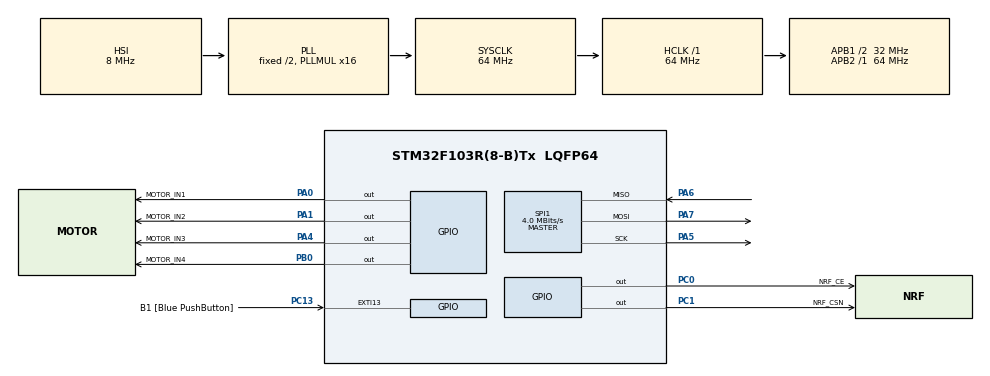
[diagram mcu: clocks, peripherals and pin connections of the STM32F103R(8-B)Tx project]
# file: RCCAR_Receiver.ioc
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Mcu.Family=STM32F1
Mcu.Name=STM32F103R(8-B)Tx
Mcu.Package=LQFP64
NVIC.EXTI15_10_IRQn=true\:0\:0\:false\:false\:true\:true\:true\:true
NVIC.PriorityGroup=NVIC_PRIORITYGROUP_4
PA0-WKUP.GPIO_Label=MOTOR_IN1
PA0-WKUP.Signal=GPIO_Output
PA1.GPIO_Label=MOTOR_IN2
PA1.Signal=GPIO_Output
PA13.GPIO_Label=TMS
PA13.Mode=Serial_Wire
PA13.Signal=SYS_JTMS-SWDIO
PA14.GPIO_Label=TCK
PA14.Mode=Serial_Wire
PA14.Signal=SYS_JTCK-SWCLK
PA2.GPIO_Label=USART_TX
PA2.GPIO_Mode=GPIO_MODE_AF_PP
PA2.GPIO_PuPd=GPIO_NOPULL
PA2.GPIO_Speed=GPIO_SPEED_FREQ_LOW
PA2.Signal=USART2_TX
PA3.GPIO_Label=USART_RX
PA3.GPIO_Mode=GPIO_MODE_AF_PP
PA3.GPIO_PuPd=GPIO_NOPULL
PA3.GPIO_Speed=GPIO_SPEED_FREQ_LOW
PA3.Signal=USART2_RX
PA4.GPIO_Label=MOTOR_IN3
PA4.Signal=GPIO_Output
PA5.Mode=Full_Duplex_Master
PA5.Signal=SPI1_SCK
PA6.Mode=Full_Duplex_Master
PA6.Signal=SPI1_MISO
PA7.Mode=Full_Duplex_Master
PA7.Signal=SPI1_MOSI
PB0.GPIO_Label=MOTOR_IN4
PB0.Signal=GPIO_Output
PB3.GPIO_Label=SWO
PB3.Signal=SYS_JTDO-TRACESWO
PC0.GPIO_Label=NRF_CE
PC0.Signal=GPIO_Output
PC1.GPIO_Label=NRF_CSN
PC1.PinState=GPIO_PIN_SET
PC1.Signal=GPIO_Output
PC13-TAMPER-RTC.GPIO_Label=B1 [Blue PushButton]
PC13-TAMPER-RTC.GPIO_ModeDefaultEXTI=GPIO_MODE_IT_FALLING
PC13-TAMPER-RTC.GPIO_PuPd=GPIO_NOPULL
PC13-TAMPER-RTC.Signal=GPXTI13
PC14-OSC32_IN.Signal=RCC_OSC32_IN
PC15-OSC32_OUT.Signal=RCC_OSC32_OUT
PD0-OSC_IN.Signal=RCC_OSC_IN
PD1-OSC_OUT.Signal=RCC_OSC_OUT
ProjectManager.HeapSize=0x200
ProjectManager.StackSize=0x400
ProjectManager.TargetToolchain=STM32CubeIDE
RCC.AHBFreq_Value=64000000
RCC.APB1CLKDivider=RCC_HCLK_DIV2
RCC.APB1Freq_Value=32000000
RCC.APB1TimFreq_Value=64000000
RCC.APB2Freq_Value=64000000
RCC.APB2TimFreq_Value=64000000
RCC.HCLKFreq_Value=64000000
RCC.PLLMUL=RCC_PLL_MUL16
RCC.SYSCLKFreq_VALUE=64000000
RCC.SYSCLKSource=RCC_SYSCLKSOURCE_PLLCLK
RCC.USBFreq_Value=64000000
SPI1.BaudRatePrescaler=SPI_BAUDRATEPRESCALER_16
SPI1.CalculateBaudRate=4.0 MBits/s
SPI1.Direction=SPI_DIRECTION_2LINES
SPI1.Mode=SPI_MODE_MASTER
SPI1.VirtualType=VM_MASTER
board=NUCLEO-F103RB

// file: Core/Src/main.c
/* USER CODE BEGIN Header */
/**
  ******************************************************************************
  * @file           : main.c
  * @brief          : Main program body
  ******************************************************************************
  * @attention
  *
  * Copyright (c) 2026 STMicroelectronics.
  * All rights reserved.
  *
  * This software is licensed under terms that can be found in the LICENSE file
  * in the root directory of this software component.
  * If no LICENSE file comes with this software, it is provided AS-IS.
  *
  ******************************************************************************
  */
/* USER CODE END Header */
#include "main.h"

/* USER CODE BEGIN PD */
#define NRF_CMD_R_REGISTER       0x00
#define NRF_CMD_W_REGISTER       0x20
#define NRF_CMD_R_RX_PAYLOAD     0x61
#define NRF_CMD_FLUSH_RX         0xE2

#define NRF_REG_CONFIG           0x00
#define NRF_REG_EN_AA            0x01
#define NRF_REG_EN_RXADDR        0x02
#define NRF_REG_SETUP_AW         0x03
#define NRF_REG_RF_CH            0x05
#define NRF_REG_RF_SETUP         0x06
#define NRF_REG_STATUS           0x07
#define NRF_REG_RX_ADDR_P0       0x0A
#define NRF_REG_RX_PW_P0         0x11

#define NRF_STATUS_RX_DR         0x40

#define CMD_STOP                 0
#define CMD_FORWARD              1
#define CMD_REVERSE              2
#define CMD_LEFT                 3
#define CMD_RIGHT                4

#define RX_FAILSAFE_TIMEOUT_MS   250

/* USER CODE END PD */

SPI_HandleTypeDef hspi1;

void SystemClock_Config(void);
static void MX_GPIO_Init(void);
static void MX_SPI1_Init(void);

/* USER CODE BEGIN 0 */
static void Motor_Set(uint8_t in1, uint8_t in2, uint8_t in3, uint8_t in4)
{
  HAL_GPIO_WritePin(GPIOA, GPIO_PIN_0, in1 ? GPIO_PIN_SET : GPIO_PIN_RESET); // IN1
  HAL_GPIO_WritePin(GPIOA, GPIO_PIN_1, in2 ? GPIO_PIN_SET : GPIO_PIN_RESET); // IN2
  HAL_GPIO_WritePin(GPIOA, GPIO_PIN_4, in3 ? GPIO_PIN_SET : GPIO_PIN_RESET); // IN3
  HAL_GPIO_WritePin(GPIOB, GPIO_PIN_0, in4 ? GPIO_PIN_SET : GPIO_PIN_RESET); // IN4
}

static uint8_t NRF24_SPI_Transfer(uint8_t value)
{
  uint8_t rx = 0;
  HAL_SPI_TransmitReceive(&hspi1, &value, &rx, 1, HAL_MAX_DELAY);
  return rx;
}

static void NRF24_CSN(uint8_t state)
{
  HAL_GPIO_WritePin(NRF_CSN_GPIO_Port, NRF_CSN_Pin, state ? GPIO_PIN_SET : GPIO_PIN_RESET);
}

static void NRF24_CE(uint8_t state)
{
  HAL_GPIO_WritePin(NRF_CE_GPIO_Port, NRF_CE_Pin, state ? GPIO_PIN_SET : GPIO_PIN_RESET);
}

static uint8_t NRF24_ReadReg(uint8_t reg)
{
  uint8_t value;
  NRF24_CSN(0);
  NRF24_SPI_Transfer(NRF_CMD_R_REGISTER | (reg & 0x1F));
  value = NRF24_SPI_Transfer(0xFF);
  NRF24_CSN(1);
  return value;
}

static void NRF24_WriteReg(uint8_t reg, uint8_t value)
{
  NRF24_CSN(0);
  NRF24_SPI_Transfer(NRF_CMD_W_REGISTER | (reg & 0x1F));
  NRF24_SPI_Transfer(value);
  NRF24_CSN(1);
}

static void NRF24_WriteBuf(uint8_t reg, const uint8_t *data, uint8_t len)
{
  uint8_t i;
  NRF24_CSN(0);
  NRF24_SPI_Transfer(NRF_CMD_W_REGISTER | (reg & 0x1F));
  for (i = 0; i < len; i++) {
    NRF24_SPI_Transfer(data[i]);
  }
  NRF24_CSN(1);
}

static void NRF24_ReadPayload(uint8_t *data, uint8_t len)
{
  uint8_t i;
  NRF24_CSN(0);
  NRF24_SPI_Transfer(NRF_CMD_R_RX_PAYLOAD);
  for (i = 0; i < len; i++) {
    data[i] = NRF24_SPI_Transfer(0xFF);
  }
  NRF24_CSN(1);
}

static void NRF24_InitRx(void)
{
  const uint8_t addr[5] = {'c', 'a', 'r', '0', '1'};

  NRF24_CE(0);
  HAL_Delay(5);

  NRF24_WriteReg(NRF_REG_EN_AA, 0x01);
  NRF24_WriteReg(NRF_REG_EN_RXADDR, 0x01);
  NRF24_WriteReg(NRF_REG_SETUP_AW, 0x03);     // 5-byte address
  NRF24_WriteReg(NRF_REG_RF_CH, 76);          // 2.476 GHz
  NRF24_WriteReg(NRF_REG_RF_SETUP, 0x06);     // 1 Mbps, 0 dBm
  NRF24_WriteBuf(NRF_REG_RX_ADDR_P0, addr, 5);
  NRF24_WriteReg(NRF_REG_RX_PW_P0, 1);        // 1-byte payload
  NRF24_WriteReg(NRF_REG_STATUS, 0x70);       // clear pending IRQ flags
  NRF24_WriteReg(NRF_REG_CONFIG, 0x0F);       // PWR_UP=1, PRIM_RX=1, CRC on

  NRF24_CSN(0);
  NRF24_SPI_Transfer(NRF_CMD_FLUSH_RX);
  NRF24_CSN(1);

  HAL_Delay(2);
  NRF24_CE(1);
}

static uint8_t NRF24_TryReadByte(uint8_t *byte)
{
  uint8_t status = NRF24_ReadReg(NRF_REG_STATUS);
  if ((status & NRF_STATUS_RX_DR) == 0) {
    return 0;
  }

  NRF24_ReadPayload(byte, 1);
  NRF24_WriteReg(NRF_REG_STATUS, NRF_STATUS_RX_DR);
  return 1;
}

/* USER CODE END 0 */

int main(void)
{

  /* MCU Configuration--------------------------------------------------------*/

  /* Reset of all peripherals, Initializes the Flash interface and the Systick. */
  HAL_Init();

  /* Configure the system clock */
  SystemClock_Config();

  /* Initialize all configured peripherals */
  MX_GPIO_Init();
  MX_SPI1_Init();
  /* USER CODE BEGIN 2 */
  uint8_t rxByte = 0;
  uint32_t lastRxTick = HAL_GetTick();
  NRF24_InitRx();

  /* USER CODE END 2 */

  /* Infinite loop */
  /* USER CODE BEGIN WHILE */
  while (1)
  {
    if (NRF24_TryReadByte(&rxByte)) {
      lastRxTick = HAL_GetTick();
      switch (rxByte) {
        case CMD_FORWARD:
          Motor_Set(0, 1, 0, 1); // left motor forward, right motor forward
          break;
        case CMD_REVERSE:
          Motor_Set(1, 0, 1, 0); // left motor reverse, right motor reverse
          break;
        case CMD_LEFT:
          Motor_Set(0, 1, 1, 0); // left motor forward, right motor reverse
          break;
        case CMD_RIGHT:
          Motor_Set(1, 0, 0, 1); // left motor reverse, right motor forward
          break;
        case CMD_STOP:
        default:
          Motor_Set(0, 0, 0, 0); // stop both motors
          break;
      }
    } else if ((HAL_GetTick() - lastRxTick) > RX_FAILSAFE_TIMEOUT_MS) {
      Motor_Set(0, 0, 0, 0);
    }

    HAL_Delay(10);
    /* USER CODE END WHILE */

  }
}

void SystemClock_Config(void)
{
  RCC_OscInitTypeDef RCC_OscInitStruct = {0};
  RCC_ClkInitTypeDef RCC_ClkInitStruct = {0};

  /** Initializes the RCC Oscillators according to the specified parameters
  * in the RCC_OscInitTypeDef structure.
  */
  RCC_OscInitStruct.OscillatorType = RCC_OSCILLATORTYPE_HSI;
  RCC_OscInitStruct.HSIState = RCC_HSI_ON;
  RCC_OscInitStruct.HSICalibrationValue = RCC_HSICALIBRATION_DEFAULT;
  RCC_OscInitStruct.PLL.PLLState = RCC_PLL_ON;
  RCC_OscInitStruct.PLL.PLLSource = RCC_PLLSOURCE_HSI_DIV2;
  RCC_OscInitStruct.PLL.PLLMUL = RCC_PLL_MUL16;
  if (HAL_RCC_OscConfig(&RCC_OscInitStruct) != HAL_OK)
  {
    Error_Handler();
  }

  /** Initializes the CPU, AHB and APB buses clocks
  */
  RCC_ClkInitStruct.ClockType = RCC_CLOCKTYPE_HCLK|RCC_CLOCKTYPE_SYSCLK
                              |RCC_CLOCKTYPE_PCLK1|RCC_CLOCKTYPE_PCLK2;
  RCC_ClkInitStruct.SYSCLKSource = RCC_SYSCLKSOURCE_PLLCLK;
  RCC_ClkInitStruct.AHBCLKDivider = RCC_SYSCLK_DIV1;
  RCC_ClkInitStruct.APB1CLKDivider = RCC_HCLK_DIV2;
  RCC_ClkInitStruct.APB2CLKDivider = RCC_HCLK_DIV1;

  if (HAL_RCC_ClockConfig(&RCC_ClkInitStruct, FLASH_LATENCY_2) != HAL_OK)
  {
    Error_Handler();
  }
}

static void MX_SPI1_Init(void)
{

  /* SPI1 parameter configuration*/
  hspi1.Instance = SPI1;
  hspi1.Init.Mode = SPI_MODE_MASTER;
  hspi1.Init.Direction = SPI_DIRECTION_2LINES;
  hspi1.Init.DataSize = SPI_DATASIZE_8BIT;
  hspi1.Init.CLKPolarity = SPI_POLARITY_LOW;
  hspi1.Init.CLKPhase = SPI_PHASE_1EDGE;
  hspi1.Init.NSS = SPI_NSS_SOFT;
  hspi1.Init.BaudRatePrescaler = SPI_BAUDRATEPRESCALER_16;
  hspi1.Init.FirstBit = SPI_FIRSTBIT_MSB;
  hspi1.Init.TIMode = SPI_TIMODE_DISABLE;
  hspi1.Init.CRCCalculation = SPI_CRCCALCULATION_DISABLE;
  hspi1.Init.CRCPolynomial = 10;
  if (HAL_SPI_Init(&hspi1) != HAL_OK)
  {
    Error_Handler();
  }

}

static void MX_GPIO_Init(void)
{
  GPIO_InitTypeDef GPIO_InitStruct = {0};

  /* GPIO Ports Clock Enable */
  __HAL_RCC_GPIOC_CLK_ENABLE();
  __HAL_RCC_GPIOD_CLK_ENABLE();
  __HAL_RCC_GPIOA_CLK_ENABLE();
  __HAL_RCC_GPIOB_CLK_ENABLE();

  /*Configure GPIO pin Output Level */
  HAL_GPIO_WritePin(NRF_CE_GPIO_Port, NRF_CE_Pin, GPIO_PIN_RESET);

  /*Configure GPIO pin Output Level */
  HAL_GPIO_WritePin(NRF_CSN_GPIO_Port, NRF_CSN_Pin, GPIO_PIN_SET);

  /*Configure GPIO pin Output Level */
  HAL_GPIO_WritePin(GPIOA, MOTOR_IN1_Pin|MOTOR_IN2_Pin|MOTOR_IN3_Pin, GPIO_PIN_RESET);

  /*Configure GPIO pin Output Level */
  HAL_GPIO_WritePin(MOTOR_IN4_GPIO_Port, MOTOR_IN4_Pin, GPIO_PIN_RESET);

  /*Configure GPIO pin : B1_Pin */
  GPIO_InitStruct.Pin = B1_Pin;
  GPIO_InitStruct.Mode = GPIO_MODE_IT_FALLING;
  GPIO_InitStruct.Pull = GPIO_NOPULL;
  HAL_GPIO_Init(B1_GPIO_Port, &GPIO_InitStruct);

  /*Configure GPIO pins : NRF_CE_Pin NRF_CSN_Pin */
  GPIO_InitStruct.Pin = NRF_CE_Pin|NRF_CSN_Pin;
  GPIO_InitStruct.Mode = GPIO_MODE_OUTPUT_PP;
  GPIO_InitStruct.Pull = GPIO_NOPULL;
  GPIO_InitStruct.Speed = GPIO_SPEED_FREQ_LOW;
  HAL_GPIO_Init(GPIOC, &GPIO_InitStruct);

  /*Configure GPIO pins : MOTOR_IN1_Pin MOTOR_IN2_Pin MOTOR_IN3_Pin */
  GPIO_InitStruct.Pin = MOTOR_IN1_Pin|MOTOR_IN2_Pin|MOTOR_IN3_Pin;
  GPIO_InitStruct.Mode = GPIO_MODE_OUTPUT_PP;
  GPIO_InitStruct.Pull = GPIO_NOPULL;
  GPIO_InitStruct.Speed = GPIO_SPEED_FREQ_LOW;
  HAL_GPIO_Init(GPIOA, &GPIO_InitStruct);

  /*Configure GPIO pins : USART_TX_Pin USART_RX_Pin */
  GPIO_InitStruct.Pin = USART_TX_Pin|USART_RX_Pin;
  GPIO_InitStruct.Mode = GPIO_MODE_AF_PP;
  GPIO_InitStruct.Speed = GPIO_SPEED_FREQ_LOW;
  HAL_GPIO_Init(GPIOA, &GPIO_InitStruct);

  /*Configure GPIO pin : MOTOR_IN4_Pin */
  GPIO_InitStruct.Pin = MOTOR_IN4_Pin;
  GPIO_InitStruct.Mode = GPIO_MODE_OUTPUT_PP;
  GPIO_InitStruct.Pull = GPIO_NOPULL;
  GPIO_InitStruct.Speed = GPIO_SPEED_FREQ_LOW;
  HAL_GPIO_Init(MOTOR_IN4_GPIO_Port, &GPIO_InitStruct);

  /* EXTI interrupt init*/
  HAL_NVIC_SetPriority(EXTI15_10_IRQn, 0, 0);
  HAL_NVIC_EnableIRQ(EXTI15_10_IRQn);

}

void Error_Handler(void)
{
  __disable_irq();
  while (1)
  {
  }
}
